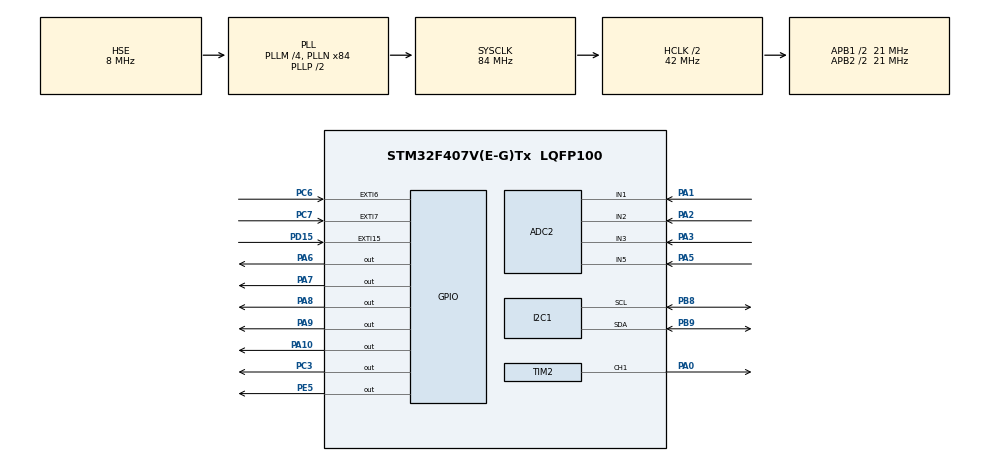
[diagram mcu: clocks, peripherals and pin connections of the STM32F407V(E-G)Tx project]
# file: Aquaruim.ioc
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Mcu.Family=STM32F4
STMicroelectronics.X-CUBE-AI.8.1.0.HeapSize=0x800
ADC2.ExternalTrigConv=ADC_EXTERNALTRIGCONV_T3_TRGO
PH0-OSC_IN.Signal=RCC_OSC_IN
STMicroelectronics.X-CUBE-AI.8.1.0.noOnnxIoTranspose-1bc2651bd10aae395b07bbc24fb4586ed5bef83f928c0b88d9405a6bf86c9a94=false
RCC.CortexFreq_Value=42000000
ADC2.SamplingTime-1\#ChannelRegularConversion=ADC_SAMPLETIME_480CYCLES
STMicroelectronics.X-CUBE-AI.8.1.0.ModelFlashOccupation-1bc2651bd10aae395b07bbc24fb4586ed5bef83f928c0b88d9405a6bf86c9a94=12387
ADC2.Channel-0\#ChannelRegularConversion=ADC_CHANNEL_1
STMicroelectronics.X-CUBE-AI.8.1.0.useOutputAllocation-1bc2651bd10aae395b07bbc24fb4586ed5bef83f928c0b88d9405a6bf86c9a94=true
SH.ADCx_IN2.0=ADC2_IN2,IN2
VP_RTC_VS_RTC_Activate.Mode=RTC_Enabled
RTC.WeekDay=RTC_WEEKDAY_WEDNESDAY
STMicroelectronics.X-CUBE-AI.8.1.0.InternalRamActivationBufferMaxSize=AI_NETWORK_DATA_ACTIVATIONS_SIZE
STMicroelectronics.X-CUBE-AI.8.1.0.ModelRamOccupation-1bc2651bd10aae395b07bbc24fb4586ed5bef83f928c0b88d9405a6bf86c9a94=2577
RCC.SYSCLKSource=RCC_SYSCLKSOURCE_PLLCLK
STMicroelectronics.X-CUBE-AI.8.1.0.ActivationBufferSizeList=2577
ProjectManager.StackSize=0x800
VP_TIM7_VS_ClockSourceINT.Mode=Enable_Timer
NVIC.ADC_IRQn=true\:0\:0\:false\:false\:true\:true\:true
STMicroelectronics.X-CUBE-AI.8.1.0.ModelKind-1bc2651bd10aae395b07bbc24fb4586ed5bef83f928c0b88d9405a6bf86c9a94=TFLITE
RTC.SynchPrediv=2599
ADC2.DMAContinuousRequests=ENABLE
STMicroelectronics.X-CUBE-AI.8.1.0.MaximumSizeOfInputLayer=1
RCC.HCLKFreq_Value=42000000
SH.ADCx_IN3.0=ADC2_IN3,IN3
Dma.ADC2.0.Direction=DMA_PERIPH_TO_MEMORY
RCC.APB2TimFreq_Value=42000000
TIM3.Period=400-1
PC7.Signal=GPXTI7
Dma.ADC2.0.MemInc=DMA_MINC_ENABLE
PC3.Signal=GPIO_Output
TIM7.Period=10000-1
PE5.Signal=GPIO_Output
ADC2.EOCSelection=ADC_EOC_SEQ_CONV
RCC.AHBFreq_Value=42000000
PH0-OSC_IN.Mode=HSE-External-Oscillator
Dma.ADC2.0.Priority=DMA_PRIORITY_LOW
NVIC.EXTI15_10_IRQn=true\:0\:0\:false\:false\:true\:true\:true
RCC.HSE_VALUE=8000000
RTC.Minutes=58
RCC.RCC_RTC_Clock_Source_FROM_HSE=RCC_RTCCLKSOURCE_HSE_DIV24
STMicroelectronics.X-CUBE-AI.8.1.0.copyWeightToRam-1bc2651bd10aae395b07bbc24fb4586ed5bef83f928c0b88d9405a6bf86c9a94=false
PA6.GPIO_PuPd=GPIO_PULLUP
RTC.Month=RTC_MONTH_DECEMBER
PC14-OSC32_IN.Mode=LSE-External-Oscillator
STMicroelectronics.X-CUBE-AI.8.1.0.copyWeightToRam=false
PA14.Mode=Serial_Wire
STMicroelectronics.X-CUBE-AI.8.1.0.ModelType-1bc2651bd10aae395b07bbc24fb4586ed5bef83f928c0b88d9405a6bf86c9a94=STM32Cube.AI runtime
TIM3.Prescaler=42000-1
PA8.Signal=GPIO_Output
TIM2.Channel-PWM\ Generation1\ CH1=TIM_CHANNEL_1
PH1-OSC_OUT.Mode=HSE-External-Oscillator
STMicroelectronics.X-CUBE-AI.8.1.0.useInputAllocation=true
PB9.Signal=I2C1_SDA
Mcu.Package=LQFP100
PA6.Signal=GPIO_Output
STMicroelectronics.X-CUBE-AI.8.1.0.ModelHashList=1bc2651bd10aae395b07bbc24fb4586ed5bef83f928c0b88d9405a6bf86c9a94
STMicroelectronics.X-CUBE-AI.8.1.0.LatestDirectoryUsed-1bc2651bd10aae395b07bbc24fb4586ed5bef83f928c0b88d9405a6bf86c9a94=C\:\\Users\\omarg\\STM32CubeIDE\\workspace_scenario3\\Aquaruim
ADC2.Channel-1\#ChannelRegularConversion=ADC_CHANNEL_2
PA10.Signal=GPIO_Output
VP_RTC_VS_RTC_Calendar.Mode=RTC_Calendar
ADC2.SamplingTime-0\#ChannelRegularConversion=ADC_SAMPLETIME_480CYCLES
PC6.GPIO_PuPd=GPIO_PULLUP
Dma.ADC2.0.Mode=DMA_CIRCULAR
RCC.APB2CLKDivider=RCC_HCLK_DIV2
SH.ADCx_IN1.0=ADC2_IN1,IN1
ADC2.SamplingTime-2\#ChannelRegularConversion=ADC_SAMPLETIME_480CYCLES
Dma.ADC2.0.PeriphDataAlignment=DMA_PDATAALIGN_HALFWORD
NVIC.DMA2_Stream2_IRQn=true\:0\:0\:false\:false\:true\:false\:true
ADC2.NbrOfConversion=4
RCC.APB1TimFreq_Value=42000000
STMicroelectronics.X-CUBE-AI.8.1.0.ModelNameList=network
ADC2.Rank-2\#ChannelRegularConversion=3
ADC2.Rank-0\#ChannelRegularConversion=1
Dma.Request0=ADC2
PD15.Signal=GPXTI15
NVIC.TIM7_IRQn=true\:3\:0\:true\:false\:true\:true\:true
VP_TIM3_VS_ClockSourceINT.Mode=Internal
ADC2.ScanConvMode=ENABLE
ADC2.Channel-3\#ChannelRegularConversion=ADC_CHANNEL_5
PA3.Signal=ADCx_IN3
STMicroelectronics.X-CUBE-AI.8.1.0.noOnnxIoTranspose=false
RCC.PLLSourceVirtual=RCC_PLLSOURCE_HSE
PC15-OSC32_OUT.Mode=LSE-External-Oscillator
ADC2.Rank-3\#ChannelRegularConversion=4
PC6.Signal=GPXTI6
STMicroelectronics.X-CUBE-AI.8.1.0.MaximumNumberOfOutputLayer=1
STMicroelectronics.X-CUBE-AI.8.1.0.ReadyForCodeGeneration=true
RCC.APB1CLKDivider=RCC_HCLK_DIV2
PC14-OSC32_IN.Signal=RCC_OSC32_IN
PA0-WKUP.Signal=S_TIM2_CH1_ETR
PA13.Signal=SYS_JTMS-SWDIO
STMicroelectronics.X-CUBE-AI.8.1.0.ModelName-1bc2651bd10aae395b07bbc24fb4586ed5bef83f928c0b88d9405a6bf86c9a94=network
STMicroelectronics.X-CUBE-AI.8.1.0.ModelActualCompression-1bc2651bd10aae395b07bbc24fb4586ed5bef83f928c0b88d9405a6bf86c9a94=0.0
ProjectManager.TargetToolchain=STM32CubeIDE
RTC.Year=25
Dma.ADC2.0.MemDataAlignment=DMA_MDATAALIGN_HALFWORD
PB9.Mode=I2C
PA9.Signal=GPIO_Output
RTC.Format=RTC_FORMAT_BIN
PC7.GPIO_PuPd=GPIO_PULLUP
STMicroelectronics.X-CUBE-AI.8.1.0.customLayerConfigEnabled=false
STMicroelectronics.X-CUBE-AI.8.1.0.ActivationSizes=AI_NETWORK_DATA_ACTIVATION_1_SIZE
PC15-OSC32_OUT.Signal=RCC_OSC32_OUT
PA7.GPIO_PuPd=GPIO_PULLUP
PA1.Signal=ADCx_IN1
PA5.Signal=ADCx_IN5
TIM7.Prescaler=42000 - 1
board=custom
RCC.VCOOutputFreq_Value=168000000
ADC2.Channel-2\#ChannelRegularConversion=ADC_CHANNEL_3
Dma.ADC2.0.PeriphInc=DMA_PINC_DISABLE
RCC.APB2Freq_Value=21000000
VP_TIM2_VS_ClockSourceINT.Mode=Internal
STMicroelectronics.X-CUBE-AI.8.1.0.ActivationNames=pool0
STMicroelectronics.X-CUBE-AI.8.1.0.customLayerConfigEnabled-1bc2651bd10aae395b07bbc24fb4586ed5bef83f928c0b88d9405a6bf86c9a94=false
STMicroelectronics.X-CUBE-AI.8.1.0.ModelCompression-1bc2651bd10aae395b07bbc24fb4586ed5bef83f928c0b88d9405a6bf86c9a94=None
PH1-OSC_OUT.Signal=RCC_OSC_OUT
RCC.RCC_RTC_Clock_SourceVirtual=RCC_RTCCLKSOURCE_HSE_DIV24
STMicroelectronics.X-CUBE-AI.8.1.0.ActivationBuffers=pool0
RCC.AHBCLKDivider=RCC_SYSCLK_DIV2
ADC2.SamplingTime-3\#ChannelRegularConversion=ADC_SAMPLETIME_480CYCLES
TIM2.Period=65535
STMicroelectronics.X-CUBE-AI.8.1.0.useOutputAllocation=true
PA13.Mode=Serial_Wire
Mcu.Name=STM32F407V(E-G)Tx
STMicroelectronics.X-CUBE-AI.8.1.0.ModelStructureFile-1bc2651bd10aae395b07bbc24fb4586ed5bef83f928c0b88d9405a6bf86c9a94=aquarium_model.tflite
PA2.Signal=ADCx_IN2
RCC.48MHZClocksFreq_Value=42000000
RCC.SYSCLKFreq_VALUE=84000000
VP_STMicroelectronics.X-CUBE-AI_VS_ArtificialOoIntelligenceJjXAaCUBEAaAI_8.1.0.Mode=ArtificialOoIntelligenceJjXAaCUBEAaAI
RTC.Hours=13
ADC2.NbrOfConversionFlag=1
STMicroelectronics.X-CUBE-AI.8.1.0.XAaCUBEAaAICcArtificialOoIntelligenceJjCore=true
SH.S_TIM2_CH1_ETR.0=TIM2_CH1,PWM Generation1 CH1
NVIC.EXTI9_5_IRQn=true\:0\:0\:false\:false\:true\:true\:true
PA14.Signal=SYS_JTCK-SWCLK
ProjectManager.HeapSize=0x800
Dma.ADC2.0.FIFOMode=DMA_FIFOMODE_DISABLE
STMicroelectronics.X-CUBE-AI.8.1.0.ModelMacc-1bc2651bd10aae395b07bbc24fb4586ed5bef83f928c0b88d9405a6bf86c9a94=263
RCC.HSI_VALUE=16000000
SH.ADCx_IN5.0=ADC2_IN5,IN5
NVIC.PriorityGroup=NVIC_PRIORITYGROUP_4
RCC.PLLM=4
PB8.Mode=I2C
RCC.PLLN=84
STMicroelectronics.X-CUBE-AI.8.1.0.MaximumNumberOfInputLayer=1
ADC2.Rank-1\#ChannelRegularConversion=2
PB8.Signal=I2C1_SCL
TIM2.AutoReloadPreload=TIM_AUTORELOAD_PRELOAD_ENABLE
STMicroelectronics.X-CUBE-AI.8.1.0.WorkingBufferStartAddrList=0xFFFFFFFF
TIM3.TIM_MasterOutputTrigger=TIM_TRGO_UPDATE
RCC.APB1Freq_Value=21000000
VP_CRC_VS_CRC.Mode=CRC_Activate
Dma.ADC2.0.Instance=DMA2_Stream2
STMicroelectronics.X-CUBE-AI.8.1.0.MaximumSizeOfOutputLayer=1
RTC.Date=10
PA7.Signal=GPIO_Output
STMicroelectronics.X-CUBE-AI.8.1.0.useInputAllocation-1bc2651bd10aae395b07bbc24fb4586ed5bef83f928c0b88d9405a6bf86c9a94=true
STMicroelectronics.X-CUBE-AI.8.1.0.StackSize=0x800

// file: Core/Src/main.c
/* USER CODE BEGIN Header */
/**
  ******************************************************************************
  * @file           : main.c
  * @brief          : Main program body
  ******************************************************************************
  * @attention
  *
  * <h2><center>&copy; Copyright (c) 2025 STMicroelectronics.
  * All rights reserved.</center></h2>
  *
  * This software component is licensed by ST under Ultimate Liberty license
  * SLA0044, the "License"; You may not use this file except in compliance with
  * the License. You may obtain a copy of the License at:
  *                             www.st.com/SLA0044
  *
  ******************************************************************************
  */
/* USER CODE END Header */
#include "main.h"
#include "adc.h"
#include "crc.h"
#include "dma.h"
#include "i2c.h"
#include "rtc.h"
#include "tim.h"
#include "gpio.h"

/* USER CODE BEGIN Includes */
#include "ai_aquarium.h"
#include "ai_monitor.h"
#include "sensors.h"
#include "actuators.h"
#include "events.h"
#include "liquidcrystal_i2c.h"
#include <stdio.h>
#include <string.h>
#include <stdbool.h>
/* USER CODE END Includes */

/* USER CODE BEGIN PV */
volatile uint8_t IA_interrupt = 0;
volatile uint8_t diagnostique = 0;
volatile uint8_t urgence = 0;
volatile uint8_t en_test = 0;
volatile uint8_t adc_fin=0;

char capteurs_err[MAX_CAPTEURS][16];
int nb_err = 0;
float water_adc_ema = 0.0f;
float humidity_ema = -1.0f;

uint16_t adcData[4];

// Humidity
uint32_t humidity_ADC;
int humidity_PERCENT;

// Water
uint32_t water_ADC;
const char* water_LEVEL;

// LDR
uint32_t LDR_ADC;
const char* LDR = "Jour";

// Temperature
uint32_t temp_ADC;
float temp;

char line1[20];
char line2[20];

char timeData[10];
char dateData[11];

static uint8_t pump_on = 0;
static uint8_t fan_on  = 0;

static uint32_t alertUntil = 0;
static uint8_t alertActive = 0;

// seuils température (hystérésis)
#define TEMP_ON   25.0f
#define TEMP_OFF  24.0f
/* USER CODE END PV */

void SystemClock_Config(void);
/* USER CODE BEGIN PFP */
void get_time_date(char *time, char *date); //RTC

/* USER CODE END PFP */

int main(void)
{

  /* MCU Configuration--------------------------------------------------------*/

  /* Reset of all peripherals, Initializes the Flash interface and the Systick. */
  HAL_Init();

  /* Configure the system clock */
  SystemClock_Config();

  /* Initialize all configured peripherals */
  MX_GPIO_Init();
  MX_DMA_Init();
  MX_I2C1_Init();
  MX_ADC2_Init();
  MX_TIM7_Init();
  MX_TIM3_Init();
  MX_TIM2_Init();
  MX_RTC_Init();
  MX_CRC_Init();

   /* USER CODE BEGIN 2 */
  	  	 AI_Init();
  	  	 AI_Monitor_Init();
         HD44780_Init(2);
         HD44780_Clear();
         HD44780_Backlight();
         HD44780_SetCursor(0, 0);
         HD44780_PrintStr("Demarrage System");
         HAL_Delay(2000);
         HD44780_Clear();
         HD44780_PrintStr("Surveillance");
         HD44780_SetCursor(0, 1);
         HD44780_PrintStr("active..");
         HAL_Delay(2000);
         HD44780_Clear();

         HAL_GPIO_WritePin(GPIOA, GPIO_PIN_8, GPIO_PIN_SET);
         HAL_Delay(1000);
         HAL_ADC_Start_DMA(&hadc2, (uint32_t*) adcData, 4);
         HAL_TIM_Base_Start(&htim3);
         HAL_TIM_PWM_Start(&htim2,TIM_CHANNEL_1);

         uint32_t water_adc_filt = 0;
         uint32_t ldr_adc_filt   = 0;
         uint32_t temp_adc_filt  = 0;

         uint32_t lastLcdUpdate   = 0;
         uint32_t pwm_last_update = 0;
         int32_t  pwm_dc          = 0;
         int32_t  pwm_speed       = 50;

         static uint32_t lastAiUpdate = 0;
         uint32_t lastAlertShow  = 0;

         static AiStatus ai_status;
         ai_status.score = 0.0f;
         memset(&ai_status, 0, sizeof(ai_status));

         while (1)
         {

         	            RTC_TimeTypeDef gTime;
         	            RTC_DateTypeDef gDate;
         	            HAL_RTC_GetTime(&hrtc, &gTime, RTC_FORMAT_BIN);
         	            HAL_RTC_GetDate(&hrtc, &gDate, RTC_FORMAT_BIN); // IMPORTANT !!
         	            uint8_t hour = gTime.Hours;

         	            get_time_date(timeData, dateData); // remplit timeData et dateData

         	            HAL_GPIO_WritePin(GPIOA, GPIO_PIN_8 |  GPIO_PIN_10, GPIO_PIN_RESET);

         	           HAL_GPIO_WritePin(GPIOC, GPIO_PIN_3, GPIO_PIN_RESET);
         	                if (hour >= 6 && hour < 12)
         	                {
         	                    HAL_GPIO_WritePin(GPIOA, GPIO_PIN_8, GPIO_PIN_SET); // Matin
         	                }
         	                else if (hour >= 12 && hour < 18)
         	                {
         	                    HAL_GPIO_WritePin(GPIOC, GPIO_PIN_3, GPIO_PIN_SET); // Midi
         	                }
         	                else
         	                {
         	                    HAL_GPIO_WritePin(GPIOA, GPIO_PIN_10, GPIO_PIN_SET); // Soir
         	                }

             /* --- Filtrage des ADC (eau, LDR, temperature) --- */
             const float alpha = 0.2f;  // plus petit = plus stable

             if (water_adc_filt == 0 && ldr_adc_filt == 0 && temp_adc_filt == 0)
             {
                 // première initialisation
                 water_adc_filt = adcData[1];
                 ldr_adc_filt   = adcData[2];
                 temp_adc_filt  = adcData[3];
             }
             else
             {
                 water_adc_filt = (uint32_t)(alpha * adcData[1] + (1.0f - alpha) * water_adc_filt);
                 ldr_adc_filt   = (uint32_t)(alpha * adcData[2] + (1.0f - alpha) * ldr_adc_filt);
                 temp_adc_filt  = (uint32_t)(alpha * adcData[3] + (1.0f - alpha) * temp_adc_filt);
             }

             /* --- Animation PWM non bloquante sur TIM2_CH1 --- */
             // ---------- PWM FADE LED SELON LDR ----------
             if (HAL_GetTick() - pwm_last_update >= 3)   // update toutes les 3 ms
             {
                 pwm_last_update = HAL_GetTick();

                 if (strcmp(LDR, "Nuit") == 0)
                 {
                     // Monter progressivement (fade in)
                     if (pwm_dc < 65535)
                         pwm_dc += pwm_speed;
                     else
                         pwm_dc = 65535;
                 }
                 else
                 {
                     // Descendre progressivement (fade out)
                     if (pwm_dc > 0)
                         pwm_dc -= pwm_speed;
                     else
                         pwm_dc = 0;
                 }

                 TIM2->CCR1 = pwm_dc;   // appliquer duty cycle
             }

             /* --- Affichage LCD périodique des capteurs --- */
             if (en_test == 0 && adc_fin == 1 && (HAL_GetTick() - lastLcdUpdate) >= 500)
             {
                 lastLcdUpdate = HAL_GetTick();
                 adc_fin = 0;

                 // Humidité (stable, on prend directement adcData[0])
                 humidity_ADC    = adcData[0];
                 humidity_PERCENT = Humidity_ADC_to_Percent(humidity_ADC);

                 // Niveau d'eau (on utilise la valeur filtrée)
                 water_ADC = water_adc_filt;
                 if (water_adc_ema == 0.0f)  water_adc_ema = (float)water_ADC;
                 water_adc_ema = WATER_EMA_ALPHA * water_ADC + (1.0f - WATER_EMA_ALPHA) * water_adc_ema;
                 uint32_t smooth_adc = (uint32_t)water_adc_ema;
                 water_LEVEL = Water_Level_Label(smooth_adc);

                 // LDR (filtré)
                 LDR_ADC = ldr_adc_filt;
                 if (LDR_ADC < 3400) { LDR = "Jour"; }
                 else                { LDR = "Nuit"; }

                 // Temperature (filtrée)
                 temp_ADC = temp_adc_filt;
                 temp     = Lire_Temperature_LM35(temp_ADC);

                 snprintf(line1, sizeof(line1), "T=%.1fC W=%.5s", temp, water_LEVEL);
                 snprintf(line2, sizeof(line2), "H=%d%% LDR=%.4s", humidity_PERCENT, LDR);

                 if (!alertActive) {
                     HD44780_Clear();
                     HD44780_SetCursor(0, 0);
                     HD44780_PrintStr(line1);
                     HD44780_SetCursor(0, 1);
                     HD44780_PrintStr(line2);
                 }
             }

                                /* PARTIE IA*/
             if (IA_interrupt)
             {
                 if (en_test == 0 && (HAL_GetTick() - lastAiUpdate) >= 1000) {
                        lastAiUpdate = HAL_GetTick();

                        // temp et water_LEVEL doivent déjà avoir une valeur (mise à jour par le bloc ADC)
                        ai_status = AI_Monitor_Update(temp, water_LEVEL);
                    }

                    // ====== ACTIONS (pompe/ventilo) ======

                    // ---- POMPE ----
                    if ((ai_status.type == ANOM_FUITE_EAU) || (ai_status.type == ANOM_NIVEAU_BAS)) {
                        pump_on = 1;
                    }
                    if (pump_on) {
                        HAL_GPIO_WritePin(GPIOA, GPIO_PIN_6, GPIO_PIN_SET); // pompe ON

                        // condition d'arrêt : niveau HIGH
                        if (strcmp(water_LEVEL, "HIGH") == 0) {
                            pump_on = 0;
                            HAL_GPIO_WritePin(GPIOA, GPIO_PIN_6, GPIO_PIN_RESET); // pompe OFF
                        }
                    } else {
                        HAL_GPIO_WritePin(GPIOA, GPIO_PIN_6, GPIO_PIN_RESET); // pompe OFF
                    }

                    // ---- VENTILO ----
                    if (ai_status.type == ANOM_SURCHAUFFE) {
                        fan_on = 1;
                    }
                    if (fan_on) {
                        HAL_GPIO_WritePin(GPIOA, GPIO_PIN_7, GPIO_PIN_SET); // ventilo ON

                        // condition d'arrêt : température redescendue
                        if (temp < TEMP_OFF) {
                            fan_on = 0;
                            HAL_GPIO_WritePin(GPIOA, GPIO_PIN_7, GPIO_PIN_RESET); // ventilo OFF
                        }
                    } else {
                        HAL_GPIO_WritePin(GPIOA, GPIO_PIN_7, GPIO_PIN_RESET); // ventilo OFF
                    }

                    // --- Afficher alerte IA séparée (ex: toutes les 3s, pendant 2s) ---
                    // lancer l'alerte (toutes les 3s)
                    if (ai_status.anom && !alertActive && (HAL_GetTick() - lastAlertShow) >= 3000) {
                        lastAlertShow = HAL_GetTick();
                        alertActive = 1;
                        alertUntil = HAL_GetTick() + 2000; // afficher 2s

                        HD44780_Clear();
                        HD44780_SetCursor(0, 0);
                        HD44780_PrintStr("!! ALERTE IA !!");
                        HD44780_SetCursor(0, 1);
                        HD44780_PrintStr(ai_status.msg);
                        HAL_GPIO_WritePin(GPIOE, GPIO_PIN_5, GPIO_PIN_SET); //buzzer
                        HAL_Delay(500);
                        HAL_GPIO_WritePin(GPIOE, GPIO_PIN_5, GPIO_PIN_RESET); //buzzer

                    }

                    // arrêter l'alerte et revenir à l'écran capteurs
                    if (alertActive && (HAL_GetTick() >= alertUntil)) {
                        alertActive = 0;
                        // ne rien faire ici : ton écran capteurs se ré-affichera au prochain refresh 500ms
                    }
             }

             /* --- Mode diagnostique --- */
             if (diagnostique && IA_interrupt==0)
             {
                 en_test = 1;
                 diagnostique = 0;
                 HD44780_Clear();
                 HD44780_SetCursor(0, 0);
                 HD44780_PrintStr("Diagnostique");
                 HAL_Delay(1000);

                 nb_err = 0;

                 if (!Diagnostic_Capteur(adcData[0], SENSOR_HUMIDITY))
                     strncpy(capteurs_err[nb_err++], Sensor_Name(SENSOR_HUMIDITY), 15);

                 if (!Diagnostic_Capteur(adcData[1], SENSOR_WATER))
                     strncpy(capteurs_err[nb_err++], Sensor_Name(SENSOR_WATER), 15);

                 if (!Diagnostic_Capteur(adcData[2], SENSOR_LDR))
                     strncpy(capteurs_err[nb_err++], Sensor_Name(SENSOR_LDR), 15);

                 if (!Diagnostic_Capteur(adcData[3], SENSOR_TEMP))
                     strncpy(capteurs_err[nb_err++], Sensor_Name(SENSOR_TEMP), 15);

                 if (!Diagnostic_Capteur(0, ACT_VENTILO))
                     strncpy(capteurs_err[nb_err++], Sensor_Name(ACT_VENTILO), 15);

                 if (!Diagnostic_Capteur(0, ACT_POMPE))
                     strncpy(capteurs_err[nb_err++], Sensor_Name(ACT_POMPE), 15);

                 for (int i = 0; i < nb_err; ++i)
                     capteurs_err[i][15] = '\0';

                 HD44780_Clear();
                 HD44780_SetCursor(0, 0);

                 if (nb_err == 0)
                 {
                     HD44780_PrintStr("Tout est bon");
                 }
                 else
                 {
                     for (int i = 0; i < nb_err; i++)
                     {
                         HD44780_PrintStr(capteurs_err[i]);
                         if (i < nb_err - 1)
                             HD44780_PrintStr(",");
                     }
                     HD44780_SetCursor(0, 1);
                     HD44780_PrintStr("A verifier");
                 }

                 HAL_Delay(3000);
                 HD44780_Clear();
                 HD44780_SetCursor(0, 0);
                 HD44780_PrintStr("Surveillance");
                 HD44780_SetCursor(0, 1);
                 HD44780_PrintStr("active..");

                 en_test = 0;
             }
             if (urgence && IA_interrupt==0)
             {
                 en_test = 1;
                 urgence = 0;

                 HD44780_Clear();
                 HD44780_SetCursor(0, 0);
                 HD44780_PrintStr("MODE URGENCE");
                 HD44780_SetCursor(0, 1);
                 HD44780_PrintStr("Verification..");
                 HAL_Delay(1500);

                 // Vérification si la pompe doit démarrer
                 if (adcData[1] < WATER_HIGH_ADC) // LOW ou MEDIUM
                 {
                     Demarrer_Pompe_Urgence();
                 }
                 else
                 {
                     HD44780_Clear();
                     HD44780_SetCursor(0, 0);
                     HD44780_PrintStr("Pompe OK");
                     HD44780_SetCursor(0, 1);
                     HD44780_PrintStr("Niveau eau OK");
                     HAL_Delay(1500);
                 }

                 const float alphaT = 0.7f;   // Coefficient de filtrage
                 char buf[17];

                 float temp_filt_local = (float)adcData[3];
                 float temp_local = Lire_Temperature_LM35((uint32_t)temp_filt_local);

                 while (temp_local >= 22.0f)
                 {
                     HAL_GPIO_WritePin(GPIOA, GPIO_PIN_7, GPIO_PIN_SET);   // Ventilo ON
                     HAL_GPIO_WritePin(GPIOA, GPIO_PIN_10, GPIO_PIN_SET);  // LED bleue ON
                     // HAL_GPIO_WritePin(GPIOE, GPIO_PIN_5, GPIO_PIN_SET); // Buzzer ON (si besoin)

                     HD44780_Clear();
                     HD44780_SetCursor(0, 0);
                     HD44780_PrintStr("Temp haute   !");
                     HD44780_SetCursor(0, 1);
                     snprintf(buf, sizeof(buf), "T=%.1fC Vent:ON", temp_local);
                     HD44780_PrintStr(buf);

                     HAL_Delay(150);

                     // Mise à jour du filtre pendant l'urgence
                     temp_filt_local = alphaT * (float)adcData[3]
                                     + (1.0f - alphaT) * temp_filt_local;

                     temp_local = Lire_Temperature_LM35((uint32_t)temp_filt_local);
                 }

                 // Sortie de la boucle : température < 20°C
                 HAL_GPIO_WritePin(GPIOA, GPIO_PIN_7, GPIO_PIN_RESET);   // Ventilo OFF
                 HAL_GPIO_WritePin(GPIOA, GPIO_PIN_10, GPIO_PIN_RESET);  // LED bleue OFF
                 HAL_GPIO_WritePin(GPIOE, GPIO_PIN_5, GPIO_PIN_RESET);   // Buzzer OFF

                 HD44780_Clear();
                 HD44780_SetCursor(0, 0);
                 HD44780_PrintStr("Temp normale");
                 HD44780_SetCursor(0, 1);
                 snprintf(buf, sizeof(buf), "T=%.1fC Vent:OFF", temp_local);
                 HD44780_PrintStr(buf);

                 HAL_Delay(3000);

                 HD44780_Clear();
                 HD44780_SetCursor(0, 0);
                 HD44780_PrintStr("Surveillance");
                 HD44780_SetCursor(0, 1);
                 HD44780_PrintStr("active..");

                 en_test = 0;
             }

         }

  /* USER CODE END 2 */
}

void SystemClock_Config(void)
{
  RCC_OscInitTypeDef RCC_OscInitStruct = {0};
  RCC_ClkInitTypeDef RCC_ClkInitStruct = {0};
  RCC_PeriphCLKInitTypeDef PeriphClkInitStruct = {0};

  /** Configure the main internal regulator output voltage
  */
  __HAL_RCC_PWR_CLK_ENABLE();
  __HAL_PWR_VOLTAGESCALING_CONFIG(PWR_REGULATOR_VOLTAGE_SCALE1);
  /** Initializes the RCC Oscillators according to the specified parameters
  * in the RCC_OscInitTypeDef structure.
  */
  RCC_OscInitStruct.OscillatorType = RCC_OSCILLATORTYPE_HSE;
  RCC_OscInitStruct.HSEState = RCC_HSE_ON;
  RCC_OscInitStruct.PLL.PLLState = RCC_PLL_ON;
  RCC_OscInitStruct.PLL.PLLSource = RCC_PLLSOURCE_HSE;
  RCC_OscInitStruct.PLL.PLLM = 4;
  RCC_OscInitStruct.PLL.PLLN = 84;
  RCC_OscInitStruct.PLL.PLLP = RCC_PLLP_DIV2;
  RCC_OscInitStruct.PLL.PLLQ = 4;
  if (HAL_RCC_OscConfig(&RCC_OscInitStruct) != HAL_OK)
  {
    Error_Handler();
  }
  /** Initializes the CPU, AHB and APB buses clocks
  */
  RCC_ClkInitStruct.ClockType = RCC_CLOCKTYPE_HCLK|RCC_CLOCKTYPE_SYSCLK
                              |RCC_CLOCKTYPE_PCLK1|RCC_CLOCKTYPE_PCLK2;
  RCC_ClkInitStruct.SYSCLKSource = RCC_SYSCLKSOURCE_PLLCLK;
  RCC_ClkInitStruct.AHBCLKDivider = RCC_SYSCLK_DIV2;
  RCC_ClkInitStruct.APB1CLKDivider = RCC_HCLK_DIV2;
  RCC_ClkInitStruct.APB2CLKDivider = RCC_HCLK_DIV2;

  if (HAL_RCC_ClockConfig(&RCC_ClkInitStruct, FLASH_LATENCY_1) != HAL_OK)
  {
    Error_Handler();
  }
  PeriphClkInitStruct.PeriphClockSelection = RCC_PERIPHCLK_RTC;
  PeriphClkInitStruct.RTCClockSelection = RCC_RTCCLKSOURCE_HSE_DIV24;
  if (HAL_RCCEx_PeriphCLKConfig(&PeriphClkInitStruct) != HAL_OK)
  {
    Error_Handler();
  }
}

/* USER CODE BEGIN 4 */
    /*
    GPIO_InitStruct.Pin = GPIO_PIN_6|GPIO_PIN_7;
    GPIO_InitStruct.Mode = GPIO_MODE_IT_FALLING;  // déclenchement quand le bouton est pressé
     GPIO_InitStruct.Pull = GPIO_PULLUP;           // pull-up interne activé

  */

void get_time_date(char *time, char *date)
{
    RTC_DateTypeDef gDate;
    RTC_TimeTypeDef gTime;

    HAL_RTC_GetTime(&hrtc, &gTime, RTC_FORMAT_BIN);
    HAL_RTC_GetDate(&hrtc, &gDate, RTC_FORMAT_BIN);

    sprintf(time,"%02d:%02d:%02d", gTime.Hours, gTime.Minutes, gTime.Seconds);
    sprintf(date,"%02d-%02d-%04d", gDate.Date, gDate.Month, 2000 + gDate.Year);
}

/* USER CODE END 4 */

void Error_Handler(void)
{
  __disable_irq();
  while (1)
  {
  }
}

/************************ (C) COPYRIGHT STMicroelectronics *****END OF FILE****/
